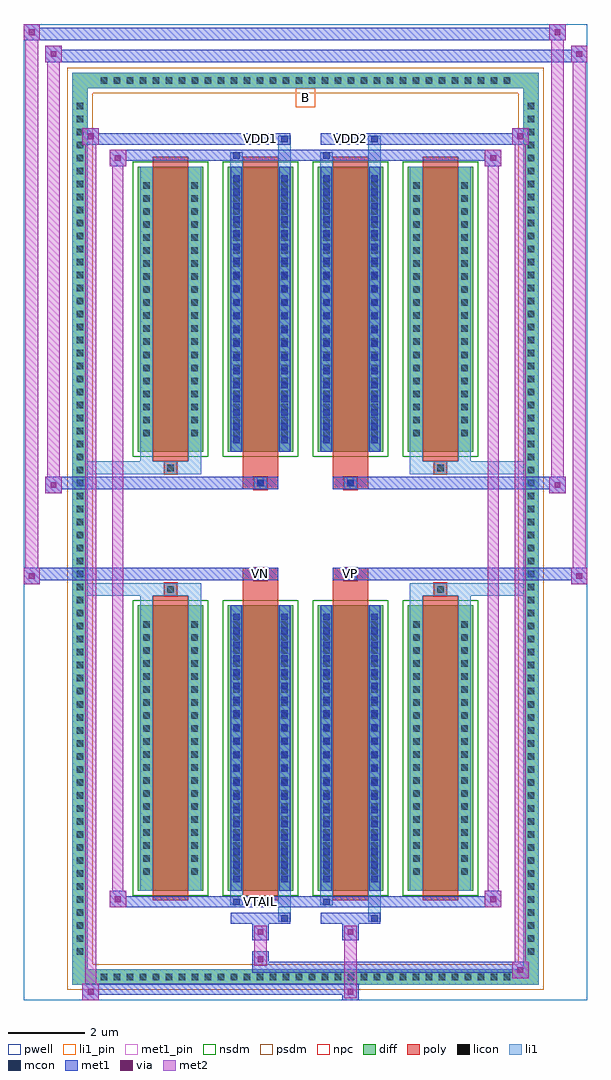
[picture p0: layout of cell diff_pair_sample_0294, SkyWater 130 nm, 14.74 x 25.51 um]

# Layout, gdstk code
import gdstk
lib = gdstk.Library(unit=1e-6, precision=5e-09)
def R(c, l, rs):  # rectangles x0, y0, x1, y1
    for r in rs: c.add(gdstk.rectangle(r[:2], r[2:], *l))
def A(c, l, x, y, w, h, nx, ny, dx, dy):  # array of equal rectangles
    R(c, l, [(x+i*dx, y+j*dy, x+i*dx+w, y+j*dy+h) for i in range(nx) for j in range(ny)])
def P(c, l, *ps):  # polygons
    for p in ps: c.add(gdstk.Polygon(p, *l))
pwell = (64, 44)
diff = (65, 20)
poly = (66, 20)
licon = (66, 44)
li1_pin = (67, 16)
li1 = (67, 20)
mcon = (67, 44)
met1_pin = (68, 16)
met1 = (68, 20)
via = (68, 44)
met2 = (69, 20)
nsdm = (93, 44)
psdm = (94, 20)
npc = (95, 20)

diff_pair_sample_0294 = lib.new_cell('diff_pair_sample_0294')
R(diff_pair_sample_0294, pwell, [(-7.37,-12.32,7.37,13.19), (-4.69,-10.51,-0.01,-0.825), (0.01,-10.51,4.69,-0.825), (-4.69,0.825,-0.01,10.51), (0.01,0.825,4.69,10.51)])
A(diff_pair_sample_0294, diff, -5.475, -11.92, 0.41, 0.41, 32, 2, 0.34, 23.43)
A(diff_pair_sample_0294, diff, -6.1, -11.255, 0.41, 0.41, 1, 66, 0, 0.34)
A(diff_pair_sample_0294, diff, 5.69, -11.255, 0.41, 0.41, 1, 66, 0, 0.34)
A(diff_pair_sample_0294, diff, -4.38, -9.465, 1.71, 7.46, 4, 2, 2.35, 11.47)
R(diff_pair_sample_0294, diff, [(-5.475,-11.92,5.475,-11.51), (-6.1,-11.255,-5.69,11.255), (5.69,-11.255,6.1,11.255), (-5.475,11.51,5.475,11.92)])
P(diff_pair_sample_0294, diff, [(6.1,11.92),(-6.1,11.92),(-6.1,-11.51),(-5.69,-11.51),(-5.69,11.51),(5.69,11.51),(5.69,-11.51),(-5.69,-11.51),(-6.1,-11.51),(-6.1,-11.92),(6.1,-11.92)])
A(diff_pair_sample_0294, poly, -3.99, -9.715, 0.93, 7.96, 4, 2, 2.35, 11.47)
R(diff_pair_sample_0294, poly, [(-3.69,-1.755,-3.36,-1.425), (-3.69,-1.755,-3.36,-1.425), (-1.64,-1.755,-0.71,-1.355), (0.71,-1.755,1.64,-1.355), (3.36,-1.755,3.69,-1.425), (3.36,-1.755,3.69,-1.425), (-1.64,-1.355,-0.71,-1.025), (-1.34,-1.355,-1.01,-1.025), (0.71,-1.355,1.64,-1.025), (1.01,-1.355,1.34,-1.025), (-1.64,1.025,-0.71,1.355), (-1.34,1.025,-1.01,1.355), (0.71,1.025,1.64,1.355), (1.01,1.025,1.34,1.355), (-1.64,1.355,-0.71,1.755), (0.71,1.355,1.64,1.755), (-3.69,1.425,-3.36,1.755), (-3.69,1.425,-3.36,1.755), (3.36,1.425,3.69,1.755), (3.36,1.425,3.69,1.755)])
A(diff_pair_sample_0294, licon, -5.355, -11.8, 0.17, 0.17, 32, 2, 0.34, 23.43)
A(diff_pair_sample_0294, licon, -5.98, -11.135, 0.17, 0.17, 1, 66, 0, 0.34)
A(diff_pair_sample_0294, licon, 5.81, -11.135, 0.17, 0.17, 1, 66, 0, 0.34)
A(diff_pair_sample_0294, licon, -4.24, -9.05, 0.17, 0.17, 1, 20, 0, 0.34)
A(diff_pair_sample_0294, licon, -2.98, -9.05, 0.17, 0.17, 1, 20, 0, 0.34)
A(diff_pair_sample_0294, licon, -1.89, -9.05, 0.17, 0.17, 1, 20, 0, 0.34)
A(diff_pair_sample_0294, licon, -0.63, -9.05, 0.17, 0.17, 1, 20, 0, 0.34)
A(diff_pair_sample_0294, licon, 0.46, -9.05, 0.17, 0.17, 1, 20, 0, 0.34)
A(diff_pair_sample_0294, licon, 1.72, -9.05, 0.17, 0.17, 1, 20, 0, 0.34)
A(diff_pair_sample_0294, licon, 2.81, -9.05, 0.17, 0.17, 1, 20, 0, 0.34)
A(diff_pair_sample_0294, licon, 4.07, -9.05, 0.17, 0.17, 1, 20, 0, 0.34)
A(diff_pair_sample_0294, licon, -4.24, 2.42, 0.17, 0.17, 1, 20, 0, 0.34)
A(diff_pair_sample_0294, licon, -2.98, 2.42, 0.17, 0.17, 1, 20, 0, 0.34)
A(diff_pair_sample_0294, licon, -1.89, 2.42, 0.17, 0.17, 1, 20, 0, 0.34)
A(diff_pair_sample_0294, licon, -0.63, 2.42, 0.17, 0.17, 1, 20, 0, 0.34)
A(diff_pair_sample_0294, licon, 0.46, 2.42, 0.17, 0.17, 1, 20, 0, 0.34)
A(diff_pair_sample_0294, licon, 1.72, 2.42, 0.17, 0.17, 1, 20, 0, 0.34)
A(diff_pair_sample_0294, licon, 2.81, 2.42, 0.17, 0.17, 1, 20, 0, 0.34)
A(diff_pair_sample_0294, licon, 4.07, 2.42, 0.17, 0.17, 1, 20, 0, 0.34)
R(diff_pair_sample_0294, licon, [(-3.61,-1.675,-3.44,-1.505), (3.44,-1.675,3.61,-1.505), (-1.26,-1.275,-1.09,-1.105), (1.09,-1.275,1.26,-1.105), (-1.26,1.105,-1.09,1.275), (1.09,1.105,1.26,1.275), (-3.61,1.505,-3.44,1.675), (3.44,1.505,3.61,1.675)])
R(diff_pair_sample_0294, li1_pin, [(-0.25,11.01,0.25,11.51)])
A(diff_pair_sample_0294, li1, -5.435, -11.88, 0.33, 0.33, 32, 2, 0.34, 23.43)
A(diff_pair_sample_0294, li1, -6.06, -11.215, 0.33, 0.33, 1, 66, 0, 0.34)
A(diff_pair_sample_0294, li1, 5.73, -11.215, 0.33, 0.33, 1, 66, 0, 0.34)
A(diff_pair_sample_0294, li1, -1.89, -9.24, 0.17, 0.17, 1, 20, 0, 0.36)
A(diff_pair_sample_0294, li1, -0.63, -9.24, 0.17, 0.17, 1, 20, 0, 0.36)
A(diff_pair_sample_0294, li1, 0.46, -9.24, 0.17, 0.17, 1, 20, 0, 0.36)
A(diff_pair_sample_0294, li1, 1.72, -9.24, 0.17, 0.17, 1, 20, 0, 0.36)
A(diff_pair_sample_0294, li1, -4.32, -9.13, 0.33, 0.33, 1, 20, 0, 0.34)
A(diff_pair_sample_0294, li1, -3.06, -9.13, 0.33, 0.33, 1, 20, 0, 0.34)
A(diff_pair_sample_0294, li1, -1.97, -9.13, 0.33, 0.33, 1, 20, 0, 0.34)
A(diff_pair_sample_0294, li1, -0.71, -9.13, 0.33, 0.33, 1, 20, 0, 0.34)
A(diff_pair_sample_0294, li1, 0.38, -9.13, 0.33, 0.33, 1, 20, 0, 0.34)
A(diff_pair_sample_0294, li1, 1.64, -9.13, 0.33, 0.33, 1, 20, 0, 0.34)
A(diff_pair_sample_0294, li1, 2.73, -9.13, 0.33, 0.33, 1, 20, 0, 0.34)
A(diff_pair_sample_0294, li1, 3.99, -9.13, 0.33, 0.33, 1, 20, 0, 0.34)
A(diff_pair_sample_0294, li1, -1.89, 2.23, 0.17, 0.17, 1, 20, 0, 0.36)
A(diff_pair_sample_0294, li1, -0.63, 2.23, 0.17, 0.17, 1, 20, 0, 0.36)
A(diff_pair_sample_0294, li1, 0.46, 2.23, 0.17, 0.17, 1, 20, 0, 0.36)
A(diff_pair_sample_0294, li1, 1.72, 2.23, 0.17, 0.17, 1, 20, 0, 0.36)
A(diff_pair_sample_0294, li1, -4.32, 2.34, 0.33, 0.33, 1, 20, 0, 0.34)
A(diff_pair_sample_0294, li1, -3.06, 2.34, 0.33, 0.33, 1, 20, 0, 0.34)
A(diff_pair_sample_0294, li1, -1.97, 2.34, 0.33, 0.33, 1, 20, 0, 0.34)
A(diff_pair_sample_0294, li1, -0.71, 2.34, 0.33, 0.33, 1, 20, 0, 0.34)
A(diff_pair_sample_0294, li1, 0.38, 2.34, 0.33, 0.33, 1, 20, 0, 0.34)
A(diff_pair_sample_0294, li1, 1.64, 2.34, 0.33, 0.33, 1, 20, 0, 0.34)
A(diff_pair_sample_0294, li1, 2.73, 2.34, 0.33, 0.33, 1, 20, 0, 0.34)
A(diff_pair_sample_0294, li1, 3.99, 2.34, 0.33, 0.33, 1, 20, 0, 0.34)
R(diff_pair_sample_0294, li1, [(-6.1,-11.92,-5.69,-11.51), (-6.1,-11.92,-5.69,-11.51), (-5.69,-11.92,5.69,-11.51), (5.69,-11.92,6.1,-11.51), (5.69,-11.92,6.1,-11.51), (-6.1,-11.51,-5.69,11.51), (5.69,-11.51,6.1,11.51), (-0.71,-10.27,-0.38,-9.465), (-0.63,-10.27,-0.46,-10.1), (1.64,-10.27,1.97,-9.465), (1.72,-10.27,1.89,-10.1), (-1.97,-9.84,-1.64,-9.465), (-1.89,-9.84,-1.72,-9.67), (0.38,-9.84,0.71,-9.465), (0.46,-9.84,0.63,-9.67), (-4.32,-9.465,-3.99,-2.005), (-3.06,-9.465,-2.73,-2.005), (-1.97,-9.465,-1.64,-2.005), (-0.71,-9.465,-0.38,-2.005), (0.38,-9.465,0.71,-2.005), (1.64,-9.465,1.97,-2.005), (2.73,-9.465,3.06,-2.005), (3.99,-9.465,4.32,-2.005), (-1.89,-9.24,-1.72,-2.23), (-0.63,-9.24,-0.46,-2.23), (0.46,-9.24,0.63,-2.23), (1.72,-9.24,1.89,-2.23), (-4.32,-2.005,-3.99,-1.425), (-3.06,-2.005,-2.73,-1.425), (2.73,-2.005,3.06,-1.425), (3.99,-2.005,4.32,-1.425), (-6.1,-1.755,-3.69,-1.425), (-4.32,-1.755,-3.69,-1.425), (-3.69,-1.755,-3.36,-1.425), (-3.36,-1.755,-2.73,-1.425), (2.73,-1.755,3.36,-1.425), (3.36,-1.755,3.69,-1.425), (3.36,-1.755,6.1,-1.425), (3.69,-1.755,4.32,-1.425), (-1.34,-1.355,-1.01,-1.025), (1.01,-1.355,1.34,-1.025), (-1.34,1.025,-1.01,1.355), (1.01,1.025,1.34,1.355), (-6.1,1.425,-3.69,1.755), (-4.32,1.425,-3.69,1.755), (-4.32,1.425,-3.99,2.005), (-3.69,1.425,-3.36,1.755), (-3.36,1.425,-2.73,1.755), (-3.06,1.425,-2.73,2.005), (2.73,1.425,3.36,1.755), (2.73,1.425,3.06,2.005), (3.36,1.425,3.69,1.755), (3.36,1.425,6.1,1.755), (3.69,1.425,4.32,1.755), (3.99,1.425,4.32,2.005), (-4.32,2.005,-3.99,9.465), (-3.06,2.005,-2.73,9.465), (-1.97,2.005,-1.64,9.465), (-0.71,2.005,-0.38,9.465), (0.38,2.005,0.71,9.465), (1.64,2.005,1.97,9.465), (2.73,2.005,3.06,9.465), (3.99,2.005,4.32,9.465), (-1.89,2.23,-1.72,9.24), (-0.63,2.23,-0.46,9.24), (0.46,2.23,0.63,9.24), (1.72,2.23,1.89,9.24), (-1.97,9.465,-1.64,9.84), (-0.71,9.465,-0.38,10.27), (0.38,9.465,0.71,9.84), (1.64,9.465,1.97,10.27), (-1.89,9.67,-1.72,9.84), (0.46,9.67,0.63,9.84), (-0.63,10.1,-0.46,10.27), (1.72,10.1,1.89,10.27), (-6.1,11.51,-5.69,11.92), (-6.1,11.51,-5.69,11.92), (-5.69,11.51,5.69,11.92), (5.69,11.51,6.1,11.92), (5.69,11.51,6.1,11.92)])
A(diff_pair_sample_0294, mcon, -1.89, -9.24, 0.17, 0.17, 1, 20, 0, 0.36)
A(diff_pair_sample_0294, mcon, -0.63, -9.24, 0.17, 0.17, 1, 20, 0, 0.36)
A(diff_pair_sample_0294, mcon, 0.46, -9.24, 0.17, 0.17, 1, 20, 0, 0.36)
A(diff_pair_sample_0294, mcon, 1.72, -9.24, 0.17, 0.17, 1, 20, 0, 0.36)
A(diff_pair_sample_0294, mcon, -1.89, 2.23, 0.17, 0.17, 1, 20, 0, 0.36)
A(diff_pair_sample_0294, mcon, -0.63, 2.23, 0.17, 0.17, 1, 20, 0, 0.36)
A(diff_pair_sample_0294, mcon, 0.46, 2.23, 0.17, 0.17, 1, 20, 0, 0.36)
A(diff_pair_sample_0294, mcon, 1.72, 2.23, 0.17, 0.17, 1, 20, 0, 0.36)
R(diff_pair_sample_0294, mcon, [(-0.63,-10.27,-0.46,-10.1), (1.72,-10.27,1.89,-10.1), (-1.89,-9.84,-1.72,-9.67), (0.46,-9.84,0.63,-9.67), (-1.26,-1.275,-1.09,-1.105), (1.09,-1.275,1.26,-1.105), (-1.26,1.105,-1.09,1.275), (1.09,1.105,1.26,1.275), (-1.89,9.67,-1.72,9.84), (0.46,9.67,0.63,9.84), (-0.63,10.1,-0.46,10.27), (1.72,10.1,1.89,10.27)])
R(diff_pair_sample_0294, met1_pin, [(-1.31,-9.88,-1.04,-9.61), (-1.31,-1.295,-1.04,-1.025), (1.04,-1.295,1.31,-1.025), (-1.31,10.06,-1.04,10.33), (1.04,10.06,1.31,10.33)])
A(diff_pair_sample_0294, met1, -1.95, -9.3, 0.29, 0.29, 1, 20, 0, 0.36)
A(diff_pair_sample_0294, met1, -0.69, -9.3, 0.29, 0.29, 1, 20, 0, 0.36)
A(diff_pair_sample_0294, met1, 0.4, -9.3, 0.29, 0.29, 1, 20, 0, 0.36)
A(diff_pair_sample_0294, met1, 1.66, -9.3, 0.29, 0.29, 1, 20, 0, 0.36)
A(diff_pair_sample_0294, met1, -1.95, 2.17, 0.29, 0.29, 1, 20, 0, 0.36)
A(diff_pair_sample_0294, met1, -0.69, 2.17, 0.29, 0.29, 1, 20, 0, 0.36)
A(diff_pair_sample_0294, met1, 0.4, 2.17, 0.29, 0.29, 1, 20, 0, 0.36)
A(diff_pair_sample_0294, met1, 1.66, 2.17, 0.29, 0.29, 1, 20, 0, 0.36)
R(diff_pair_sample_0294, met1, [(-5.83,-12.32,-5.4,-11.89), (0.96,-12.32,1.39,-11.89), (-5.83,-12.18,1.39,-11.89), (5.4,-11.75,5.83,-11.32), (-1.39,-11.61,5.83,-11.32), (-1.39,-11.47,-0.96,-11.04), (-1.39,-10.76,-0.96,-10.33), (0.96,-10.76,1.39,-10.33), (-1.95,-10.33,-0.4,-10.04), (-0.69,-10.33,-0.4,-10.04), (0.4,-10.33,1.95,-10.04), (1.66,-10.33,1.95,-10.04), (-5.12,-9.9,-4.69,-9.47), (-5.12,-9.9,-1.95,-9.61), (-1.95,-9.9,-1.66,-9.61), (-1.95,-9.9,-0.4,-9.61), (-0.4,-9.9,0.4,-9.61), (0.4,-9.9,0.69,-9.61), (0.4,-9.9,1.95,-9.61), (1.95,-9.9,5.12,-9.61), (4.69,-9.9,5.12,-9.47), (-1.95,-9.465,-1.66,-2.005), (-0.69,-9.465,-0.4,-2.005), (0.4,-9.465,0.69,-2.005), (1.66,-9.465,1.95,-2.005), (-7.37,-1.455,-6.94,-1.025), (6.94,-1.455,7.37,-1.025), (-7.37,-1.355,-0.71,-1.025), (-1.64,-1.355,-0.71,-1.025), (0.71,-1.355,1.64,-1.025), (0.71,-1.355,7.37,-1.025), (-1.32,-1.335,-1.03,-1.045), (1.03,-1.335,1.32,-1.045), (-6.8,0.925,-6.37,1.355), (6.37,0.925,6.8,1.355), (-6.8,1.025,-1.64,1.355), (-1.64,1.025,-0.71,1.355), (0.71,1.025,1.64,1.355), (1.64,1.025,6.8,1.355), (-1.32,1.045,-1.03,1.335), (1.03,1.045,1.32,1.335), (-1.95,2.005,-1.66,9.465), (-0.69,2.005,-0.4,9.465), (0.4,2.005,0.69,9.465), (1.66,2.005,1.95,9.465), (-5.12,9.47,-4.69,9.9), (4.69,9.47,5.12,9.9), (-5.12,9.61,-1.95,9.9), (-1.95,9.61,-1.66,9.9), (-1.95,9.61,-0.4,9.9), (-0.4,9.61,0.4,9.9), (0.4,9.61,0.69,9.9), (0.4,9.61,1.95,9.9), (1.95,9.61,5.12,9.9), (-5.83,10.04,-5.4,10.47), (-5.83,10.04,-1.95,10.33), (-1.95,10.04,-0.4,10.33), (-0.69,10.04,-0.4,10.33), (0.4,10.04,1.95,10.33), (1.66,10.04,1.95,10.33), (1.95,10.04,5.83,10.33), (5.4,10.04,5.83,10.47), (-6.8,12.19,-6.37,12.62), (-6.8,12.19,-4.69,12.52), (-4.69,12.19,4.69,12.52), (4.69,12.19,7.37,12.52), (6.94,12.19,7.37,12.62), (-7.37,12.76,-6.94,13.19), (-7.37,12.76,-4.69,13.09), (-4.69,12.76,4.69,13.09), (4.69,12.76,6.8,13.09), (6.37,12.76,6.8,13.19)])
R(diff_pair_sample_0294, via, [(-5.69,-12.18,-5.54,-12.03), (1.1,-12.18,1.25,-12.03), (5.54,-11.61,5.69,-11.46), (-1.25,-11.33,-1.1,-11.18), (-1.25,-10.62,-1.1,-10.47), (1.1,-10.62,1.25,-10.47), (-4.98,-9.76,-4.83,-9.61), (4.83,-9.76,4.98,-9.61), (-7.23,-1.315,-7.08,-1.165), (7.08,-1.315,7.23,-1.165), (-6.66,1.065,-6.51,1.215), (6.51,1.065,6.66,1.215), (-4.98,9.61,-4.83,9.76), (4.83,9.61,4.98,9.76), (-5.69,10.18,-5.54,10.33), (5.54,10.18,5.69,10.33), (-6.66,12.33,-6.51,12.48), (7.08,12.33,7.23,12.48), (-7.23,12.9,-7.08,13.05), (6.51,12.9,6.66,13.05)])
R(diff_pair_sample_0294, met2, [(-5.83,-12.32,-5.4,-11.89), (-5.76,-12.32,-5.47,10.47), (-5.47,-12.32,-5.4,-11.89), (-5.78,-12.27,-5.45,-11.94), (1.01,-12.27,1.34,-11.94), (1.01,-11.94,1.34,-10.71), (5.4,-11.75,5.83,-11.32), (5.47,-11.75,5.76,10.47), (5.76,-11.75,5.83,-11.32), (5.45,-11.7,5.78,-11.37), (-1.34,-11.42,-1.01,-11.09), (-1.34,-11.09,-1.01,-10.71), (-1.34,-10.71,-1.01,-10.38), (1.01,-10.71,1.34,-10.38), (-5.12,-9.9,-4.69,-9.47), (-5.05,-9.9,-4.76,9.9), (-4.76,-9.9,-4.69,-9.47), (4.69,-9.9,5.12,-9.47), (4.76,-9.9,5.05,9.9), (5.05,-9.9,5.12,-9.47), (-5.07,-9.85,-4.74,-9.52), (4.74,-9.85,5.07,-9.52), (-7.37,-1.455,-6.94,-1.025), (-7.32,-1.455,-6.99,13.19), (-6.99,-1.455,-6.94,-1.025), (6.94,-1.455,7.37,-1.025), (6.99,-1.455,7.32,12.62), (7.32,-1.455,7.37,-1.025), (-7.32,-1.405,-6.99,-1.075), (6.99,-1.405,7.32,-1.075), (-6.8,0.925,-6.37,1.355), (-6.75,0.925,-6.42,12.62), (-6.42,0.925,-6.37,1.355), (6.37,0.925,6.8,1.355), (6.42,0.925,6.75,13.19), (6.75,0.925,6.8,1.355), (-6.75,0.975,-6.42,1.305), (6.42,0.975,6.75,1.305), (-5.12,9.47,-4.69,9.9), (-4.76,9.47,-4.69,9.9), (4.69,9.47,5.12,9.9), (5.05,9.47,5.12,9.9), (-5.07,9.52,-4.74,9.85), (4.74,9.52,5.07,9.85), (-5.83,10.04,-5.4,10.47), (-5.47,10.04,-5.4,10.47), (5.4,10.04,5.83,10.47), (5.76,10.04,5.83,10.47), (-5.78,10.09,-5.45,10.42), (5.45,10.09,5.78,10.42), (-6.8,12.19,-6.37,12.62), (-6.42,12.19,-6.37,12.62), (6.94,12.19,7.37,12.62), (7.32,12.19,7.37,12.62), (-6.75,12.24,-6.42,12.57), (6.99,12.24,7.32,12.57), (-7.37,12.76,-6.94,13.19), (-6.99,12.76,-6.94,13.19), (6.37,12.76,6.8,13.19), (6.75,12.76,6.8,13.19), (-7.32,12.81,-6.99,13.14), (6.42,12.81,6.75,13.14)])
A(diff_pair_sample_0294, nsdm, -4.51, -9.595, 1.97, 7.72, 4, 2, 2.35, 11.47)
P(diff_pair_sample_0294, psdm, [(6.23,12.05),(-6.23,12.05),(-6.23,-11.38),(-5.56,-11.38),(-5.56,11.38),(5.56,11.38),(5.56,-11.38),(-5.56,-11.38),(-6.23,-11.38),(-6.23,-12.05),(6.23,-12.05)])
R(diff_pair_sample_0294, npc, [(-3.71,-1.775,-3.34,-1.405), (3.34,-1.775,3.71,-1.405), (-1.36,-1.375,-0.99,-1.005), (0.99,-1.375,1.36,-1.005), (-1.36,1.005,-0.99,1.375), (0.99,1.005,1.36,1.375), (-3.71,1.405,-3.34,1.775), (3.34,1.405,3.71,1.775)])
diff_pair_sample_0294.add(gdstk.Label('VTAIL', (-1.175,-9.745), layer=68, texttype=5))
diff_pair_sample_0294.add(gdstk.Label('VN', (-1.175,-1.16), layer=68, texttype=5))
diff_pair_sample_0294.add(gdstk.Label('VP', (1.175,-1.16), layer=68, texttype=5))
diff_pair_sample_0294.add(gdstk.Label('B', (0,11.26), layer=67, texttype=5))
diff_pair_sample_0294.add(gdstk.Label('VDD2', (1.175,10.195), layer=68, texttype=5))
diff_pair_sample_0294.add(gdstk.Label('VDD1', (-1.175,10.195), layer=68, texttype=5))

lib.write_gds('diff_pair_sample_0294.gds')
